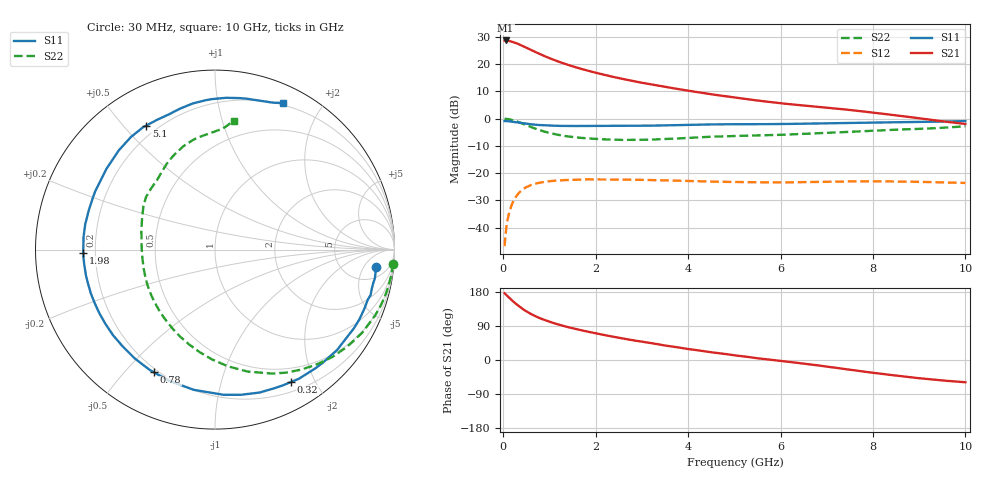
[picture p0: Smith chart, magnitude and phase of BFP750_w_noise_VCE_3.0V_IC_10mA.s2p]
! Infineon Technologies  Discrete & RF Semiconductors
! BFP750
! VCE =  3.0 V,  IC =  10 mA
! Common Emitter S-Parameters:  Jan 2016
# GHz  S  MA  R  50
!  f  S11  S21  S12  S22
! GHz  MAG  ANG  MAG  ANG  MAG  ANG  MAG  ANG
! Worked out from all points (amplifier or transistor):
!   229 points, 30 MHz to 10 GHz, reference 50 ohm
!   highest |S21| = 28.6 dB at 50 MHz (marker M1)
!   |S21| within 3 dB of that: start of sweep to 544.3 MHz
!   unconditionally stable (mu >= 1): 5.217 GHz to end of sweep
!   at 280 MHz: K = 0.07, MSG = 28.1 dB, |S12| = -28.5 dB
!   at 1.78 GHz: K = 0.36, MSG = 20.1 dB, |S12| = -22.3 dB
!   at 10 GHz: K = 1.15, MAG = 8.5 dB, |S12| = -23.6 dB
!   lowest NFmin = 0.64 dB at 450 MHz
!   S11 on the Smith chart (normalised r, x): 30 MHz: 10, -10; 320 MHz: 0.32, -1.68; 780 MHz: 0.18, -0.60; 1.98 GHz: 0.15, -0.01; 5.1 GHz: 0.16, +0.58; 10 GHz: 0.18, +1.55
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0.03  0.9031 -6.0  26.91 176.2  0.0046 84.9  0.9941 -4.5
0.05  0.905 -10.2  27.07 173.3  0.0074 82.0  0.9931 -7.5
0.12  0.8934 -23.8  26.52 165.4  0.0177 76.5  0.9762 -17.8
0.2  0.8806 -39.4  25.54 156.2  0.0283 68.4  0.9424 -29.3
0.28  0.8604 -53.4  24.19 147.9  0.0374 60.8  0.8962 -39.9
0.32  0.8505 -60.2  23.45 144.0  0.0415 57.4  0.8718 -45.0
0.4  0.8342 -72.7  21.92 136.4  0.0486 51.0  0.8218 -54.6
0.5  0.8107 -86.5  20 128.4  0.0555 44.1  0.7598 -65.4
0.6  0.7902 -98.6  18.18 121.4  0.0607 38.2  0.7031 -75.1
0.78  0.7637 -116.4  15.44 111.1  0.0668 29.7  0.6189 -90.0
1  0.7452 -133.6  12.81 100.9  0.0714 22.1  0.547 -105.5
1.2  0.7375 -145.9  11.04 93.4  0.0738 16.7  0.5026 -117.4
1.42  0.7332 -156.9  9.543 86.2  0.0753 12.0  0.4696 -128.5
1.7  0.7334 -168.7  8.109 78.2  0.0765 7.1  0.4431 -140.7
1.98  0.734 -178.5  7.003 70.9  0.0771 3.0  0.4263 -151.3
2.6  0.7366 163.7  5.295 56.5  0.0764 -4.4  0.4077 -171.7
3.4  0.7493 145.5  3.954 40.5  0.0744 -11.2  0.419 168.1
4  0.7703 134.0  3.247 28.9  0.072 -15.2  0.4435 156.3
5.1  0.7903 119.0  2.38 11.0  0.0687 -19.2  0.4842 141.6
6.8  0.8168 100.8  1.646 -14.1  0.0694 -23.5  0.5389 121.2
8.4  0.8553 80.7  1.175 -39.7  0.0706 -32.0  0.6231 101.3
10  0.9013 65.1  0.798 -58.7  0.0663 -39.0  0.7249 81.8
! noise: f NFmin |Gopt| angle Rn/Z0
0.45  0.64  0.24  2  0.09
0.9  0.66  0.21  16  0.02
1.5  0.68  0.13  78  0.06
1.9  0.71  0.12  115  0.08
2.4  0.78  0.17  153  0.08
3.5  1.07  0.24  -166  0.05
